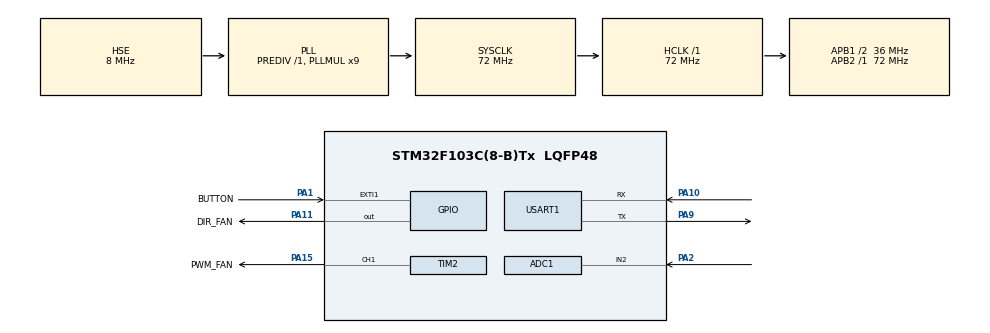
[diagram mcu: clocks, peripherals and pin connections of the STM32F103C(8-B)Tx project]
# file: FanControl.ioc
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ADC1.Channel-0\#ChannelRegularConversion=ADC_CHANNEL_2
ADC1.NbrOfConversionFlag=1
ADC1.Rank-0\#ChannelRegularConversion=1
ADC1.SamplingTime-0\#ChannelRegularConversion=ADC_SAMPLETIME_1CYCLE_5
ADC1.master=1
Mcu.Family=STM32F1
Mcu.Name=STM32F103C(8-B)Tx
Mcu.Package=LQFP48
NVIC.ADC1_2_IRQn=true\:0\:0\:false\:false\:true\:true\:true
NVIC.EXTI1_IRQn=true\:0\:0\:false\:false\:true\:true\:true
NVIC.PriorityGroup=NVIC_PRIORITYGROUP_4
NVIC.USART1_IRQn=true\:0\:0\:false\:false\:true\:true\:true
PA1.GPIO_Label=BUTTON
PA1.Signal=GPXTI1
PA10.Mode=Asynchronous
PA10.Signal=USART1_RX
PA11.GPIO_Label=DIR_FAN
PA11.Signal=GPIO_Output
PA13.Mode=Serial_Wire
PA13.Signal=SYS_JTMS-SWDIO
PA14.Mode=Serial_Wire
PA14.Signal=SYS_JTCK-SWCLK
PA15.GPIO_Label=PWM_FAN
PA15.Signal=S_TIM2_CH1_ETR
PA2.Signal=ADCx_IN2
PA9.Mode=Asynchronous
PA9.Signal=USART1_TX
PD0-OSC_IN.Mode=HSE-External-Oscillator
PD0-OSC_IN.Signal=RCC_OSC_IN
PD1-OSC_OUT.Mode=HSE-External-Oscillator
PD1-OSC_OUT.Signal=RCC_OSC_OUT
ProjectManager.HeapSize=0x200
ProjectManager.StackSize=0x400
ProjectManager.TargetToolchain=MDK-ARM V5.27
RCC.ADCPresc=RCC_ADCPCLK2_DIV6
RCC.AHBFreq_Value=72000000
RCC.APB1CLKDivider=RCC_HCLK_DIV2
RCC.APB1Freq_Value=36000000
RCC.APB1TimFreq_Value=72000000
RCC.APB2Freq_Value=72000000
RCC.APB2TimFreq_Value=72000000
RCC.HCLKFreq_Value=72000000
RCC.PLLMUL=RCC_PLL_MUL9
RCC.PLLSourceVirtual=RCC_PLLSOURCE_HSE
RCC.SYSCLKFreq_VALUE=72000000
RCC.SYSCLKSource=RCC_SYSCLKSOURCE_PLLCLK
RCC.USBFreq_Value=72000000
SH.ADCx_IN2.0=ADC1_IN2,IN2
SH.S_TIM2_CH1_ETR.0=TIM2_CH1,PWM Generation1 CH1
TIM2.AutoReloadPreload=TIM_AUTORELOAD_PRELOAD_ENABLE
TIM2.Channel-PWM\ Generation1\ CH1=TIM_CHANNEL_1
TIM2.Period=999
USART1.VirtualMode=VM_ASYNC
VP_TIM2_VS_ClockSourceINT.Mode=Internal
board=custom

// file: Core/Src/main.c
/* USER CODE BEGIN Header */
/**
  ******************************************************************************
  * @file           : main.c
  * @brief          : Main program body
  ******************************************************************************
  * @attention
  *
  * Copyright (c) 2022 STMicroelectronics.
  * All rights reserved.
  *
  * This software is licensed under terms that can be found in the LICENSE file
  * in the root directory of this software component.
  * If no LICENSE file comes with this software, it is provided AS-IS.
  *
  ******************************************************************************
  */
/* USER CODE END Header */
#include "main.h"
#include <stdio.h>
#include <stdint.h>
#include <string.h>

ADC_HandleTypeDef hadc1;

TIM_HandleTypeDef htim2;

UART_HandleTypeDef huart1;

/* USER CODE BEGIN PV */
uint8_t mode = 0;
int duty = 0;
uint16_t ADCVal = 0;
uint8_t RxData;
char RxBuff[20];
uint8_t RxIndex = 0;
uint8_t flagProcess = 0;
uint8_t flagGUI = 0;
int Temp;

/* USER CODE END PV */

void SystemClock_Config(void);
static void MX_GPIO_Init(void);
static void MX_ADC1_Init(void);
static void MX_TIM2_Init(void);
static void MX_USART1_UART_Init(void);

/* USER CODE BEGIN 0 */
void process_RxData()
{
	if(RxBuff[0] == '0')
	{
		if( mode == 0)
			mode = 1;
		else
			mode = 0;
	}
	if(RxBuff[0] == '1')
	{
		if( flagGUI == 0)
			flagGUI = 1;
		else
			flagGUI = 0;
	}
	if(RxBuff[0] == '2')
	{
		sscanf(RxBuff, "%u %u", &Temp, &duty);
		//duty = duty - 1;
	}
	flagProcess = 1;
}

void HAL_GPIO_EXTI_Callback(uint16_t GPIO_Pin)
{
  UNUSED(GPIO_Pin);
	if( GPIO_Pin == GPIO_PIN_1)
	{
		if( mode == 0)
			mode = 1;
		else
			mode = 0;
		flagProcess = 1;
	}
}

void HAL_ADC_ConvCpltCallback(ADC_HandleTypeDef *hadc)
{
	UNUSED(hadc);
	if( hadc->Instance == ADC1)
	{
		if( flagGUI == 0)
		{
			ADCVal = HAL_ADC_GetValue(&hadc1);
			duty = 1000*ADCVal/4095;
			flagProcess = 1;
		}
	}
}

void HAL_UART_RxCpltCallback( UART_HandleTypeDef *huart)
{
	UNUSED(&huart);
	if( huart->Instance == USART1)
	{
		if(RxData != '\n') //line feed Ascii
		{
			RxBuff[RxIndex++] = RxData; //Save data in Rxbuff
		}
		else if (RxData == '\n')
		{
			RxIndex = 0;
			process_RxData();
		}
	}
	HAL_UART_Receive_IT(&huart1, &RxData, 1);
}

/* USER CODE END 0 */

int main(void)
{

  /* MCU Configuration--------------------------------------------------------*/

  /* Reset of all peripherals, Initializes the Flash interface and the Systick. */
  HAL_Init();

  /* Configure the system clock */
  SystemClock_Config();

  /* Initialize all configured peripherals */
  MX_GPIO_Init();
  MX_ADC1_Init();
  MX_TIM2_Init();
  MX_USART1_UART_Init();
  /* USER CODE BEGIN 2 */
	HAL_TIM_PWM_Start(&htim2, PWM_FAN_Pin);
	HAL_UART_Receive_IT(&huart1, (uint8_t *)&RxData, 1);

  /* USER CODE END 2 */

  /* Infinite loop */
  /* USER CODE BEGIN WHILE */
  while (1)
  {
		if( flagProcess == 1)
		{
		switch( mode)
			{
				case 0:
					HAL_GPIO_WritePin(GPIOA, GPIO_PIN_11, 0);
					__HAL_TIM_SetCompare(&htim2, TIM_CHANNEL_1, duty);
					flagProcess = 0;
					break;
				case 1:
					HAL_GPIO_WritePin(GPIOA, GPIO_PIN_11, 1);
					__HAL_TIM_SetCompare(&htim2, TIM_CHANNEL_1,999 - duty);
					flagProcess = 0;
					break;
			}
		}
    /* USER CODE END WHILE */

  }
}

void SystemClock_Config(void)
{
  RCC_OscInitTypeDef RCC_OscInitStruct = {0};
  RCC_ClkInitTypeDef RCC_ClkInitStruct = {0};
  RCC_PeriphCLKInitTypeDef PeriphClkInit = {0};

  /** Initializes the RCC Oscillators according to the specified parameters
  * in the RCC_OscInitTypeDef structure.
  */
  RCC_OscInitStruct.OscillatorType = RCC_OSCILLATORTYPE_HSE;
  RCC_OscInitStruct.HSEState = RCC_HSE_ON;
  RCC_OscInitStruct.HSEPredivValue = RCC_HSE_PREDIV_DIV1;
  RCC_OscInitStruct.HSIState = RCC_HSI_ON;
  RCC_OscInitStruct.PLL.PLLState = RCC_PLL_ON;
  RCC_OscInitStruct.PLL.PLLSource = RCC_PLLSOURCE_HSE;
  RCC_OscInitStruct.PLL.PLLMUL = RCC_PLL_MUL9;
  if (HAL_RCC_OscConfig(&RCC_OscInitStruct) != HAL_OK)
  {
    Error_Handler();
  }
  /** Initializes the CPU, AHB and APB buses clocks
  */
  RCC_ClkInitStruct.ClockType = RCC_CLOCKTYPE_HCLK|RCC_CLOCKTYPE_SYSCLK
                              |RCC_CLOCKTYPE_PCLK1|RCC_CLOCKTYPE_PCLK2;
  RCC_ClkInitStruct.SYSCLKSource = RCC_SYSCLKSOURCE_PLLCLK;
  RCC_ClkInitStruct.AHBCLKDivider = RCC_SYSCLK_DIV1;
  RCC_ClkInitStruct.APB1CLKDivider = RCC_HCLK_DIV2;
  RCC_ClkInitStruct.APB2CLKDivider = RCC_HCLK_DIV1;

  if (HAL_RCC_ClockConfig(&RCC_ClkInitStruct, FLASH_LATENCY_2) != HAL_OK)
  {
    Error_Handler();
  }
  PeriphClkInit.PeriphClockSelection = RCC_PERIPHCLK_ADC;
  PeriphClkInit.AdcClockSelection = RCC_ADCPCLK2_DIV6;
  if (HAL_RCCEx_PeriphCLKConfig(&PeriphClkInit) != HAL_OK)
  {
    Error_Handler();
  }
}

static void MX_ADC1_Init(void)
{

  ADC_ChannelConfTypeDef sConfig = {0};

  /** Common config
  */
  hadc1.Instance = ADC1;
  hadc1.Init.ScanConvMode = ADC_SCAN_DISABLE;
  hadc1.Init.ContinuousConvMode = DISABLE;
  hadc1.Init.DiscontinuousConvMode = DISABLE;
  hadc1.Init.ExternalTrigConv = ADC_SOFTWARE_START;
  hadc1.Init.DataAlign = ADC_DATAALIGN_RIGHT;
  hadc1.Init.NbrOfConversion = 1;
  if (HAL_ADC_Init(&hadc1) != HAL_OK)
  {
    Error_Handler();
  }
  /** Configure Regular Channel
  */
  sConfig.Channel = ADC_CHANNEL_2;
  sConfig.Rank = ADC_REGULAR_RANK_1;
  sConfig.SamplingTime = ADC_SAMPLETIME_1CYCLE_5;
  if (HAL_ADC_ConfigChannel(&hadc1, &sConfig) != HAL_OK)
  {
    Error_Handler();
  }

}

static void MX_TIM2_Init(void)
{

  TIM_ClockConfigTypeDef sClockSourceConfig = {0};
  TIM_MasterConfigTypeDef sMasterConfig = {0};
  TIM_OC_InitTypeDef sConfigOC = {0};

  htim2.Instance = TIM2;
  htim2.Init.Prescaler = 720;
  htim2.Init.CounterMode = TIM_COUNTERMODE_UP;
  htim2.Init.Period = 999;
  htim2.Init.ClockDivision = TIM_CLOCKDIVISION_DIV1;
  htim2.Init.AutoReloadPreload = TIM_AUTORELOAD_PRELOAD_ENABLE;
  if (HAL_TIM_Base_Init(&htim2) != HAL_OK)
  {
    Error_Handler();
  }
  sClockSourceConfig.ClockSource = TIM_CLOCKSOURCE_INTERNAL;
  if (HAL_TIM_ConfigClockSource(&htim2, &sClockSourceConfig) != HAL_OK)
  {
    Error_Handler();
  }
  if (HAL_TIM_PWM_Init(&htim2) != HAL_OK)
  {
    Error_Handler();
  }
  sMasterConfig.MasterOutputTrigger = TIM_TRGO_RESET;
  sMasterConfig.MasterSlaveMode = TIM_MASTERSLAVEMODE_DISABLE;
  if (HAL_TIMEx_MasterConfigSynchronization(&htim2, &sMasterConfig) != HAL_OK)
  {
    Error_Handler();
  }
  sConfigOC.OCMode = TIM_OCMODE_PWM1;
  sConfigOC.Pulse = 0;
  sConfigOC.OCPolarity = TIM_OCPOLARITY_HIGH;
  sConfigOC.OCFastMode = TIM_OCFAST_DISABLE;
  if (HAL_TIM_PWM_ConfigChannel(&htim2, &sConfigOC, TIM_CHANNEL_1) != HAL_OK)
  {
    Error_Handler();
  }
  HAL_TIM_MspPostInit(&htim2);

}

static void MX_USART1_UART_Init(void)
{

  huart1.Instance = USART1;
  huart1.Init.BaudRate = 9600;
  huart1.Init.WordLength = UART_WORDLENGTH_8B;
  huart1.Init.StopBits = UART_STOPBITS_1;
  huart1.Init.Parity = UART_PARITY_NONE;
  huart1.Init.Mode = UART_MODE_TX_RX;
  huart1.Init.HwFlowCtl = UART_HWCONTROL_NONE;
  huart1.Init.OverSampling = UART_OVERSAMPLING_16;
  if (HAL_UART_Init(&huart1) != HAL_OK)
  {
    Error_Handler();
  }

}

static void MX_GPIO_Init(void)
{
  GPIO_InitTypeDef GPIO_InitStruct = {0};

  /* GPIO Ports Clock Enable */
  __HAL_RCC_GPIOD_CLK_ENABLE();
  __HAL_RCC_GPIOA_CLK_ENABLE();

  /*Configure GPIO pin Output Level */
  HAL_GPIO_WritePin(GPIOA, GPIO_PIN_11, GPIO_PIN_RESET);

  /*Configure GPIO pin : PA1 */
  GPIO_InitStruct.Pin = GPIO_PIN_1;
  GPIO_InitStruct.Mode = GPIO_MODE_IT_FALLING;
  GPIO_InitStruct.Pull = GPIO_NOPULL;
  HAL_GPIO_Init(GPIOA, &GPIO_InitStruct);

  /*Configure GPIO pin : PA11 */
  GPIO_InitStruct.Pin = GPIO_PIN_11;
  GPIO_InitStruct.Mode = GPIO_MODE_OUTPUT_PP;
  GPIO_InitStruct.Pull = GPIO_NOPULL;
  GPIO_InitStruct.Speed = GPIO_SPEED_FREQ_LOW;
  HAL_GPIO_Init(GPIOA, &GPIO_InitStruct);

  /* EXTI interrupt init*/
  HAL_NVIC_SetPriority(EXTI1_IRQn, 0, 0);
  HAL_NVIC_EnableIRQ(EXTI1_IRQn);

}

void Error_Handler(void)
{
  __disable_irq();
  while (1)
  {
  }
}
